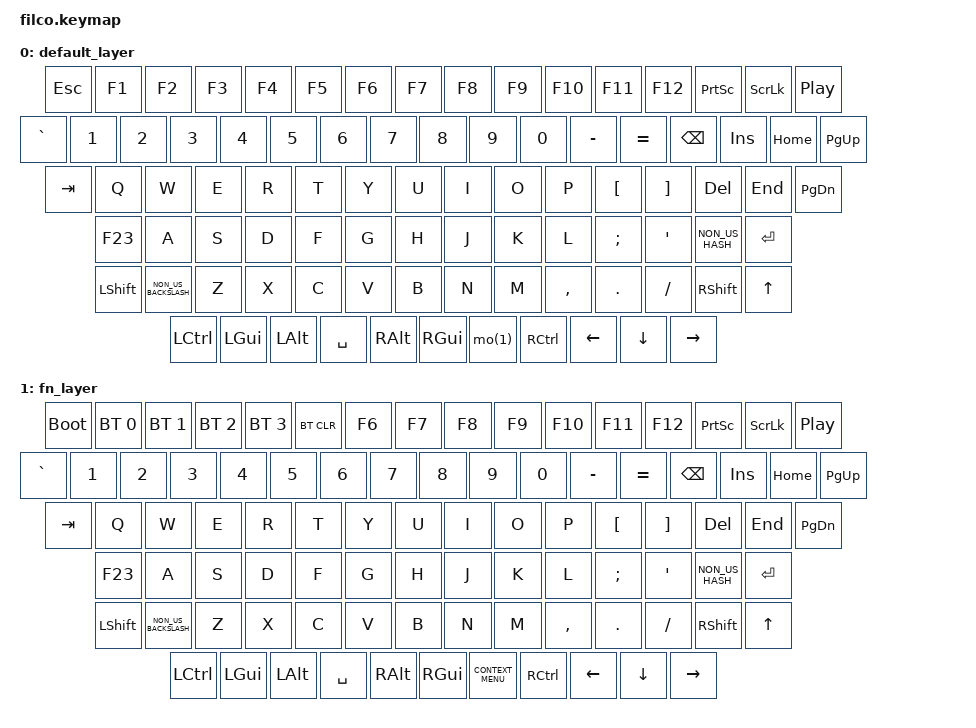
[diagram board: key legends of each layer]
/*
 * Copyright (c) 2020 The ZMK Contributors
 *
 * SPDX-License-Identifier: MIT
 */

#include <behaviors.dtsi>
#include <dt-bindings/zmk/keys.h>
#include <dt-bindings/zmk/bt.h>

/ {
    keymap0: keymap
    {
        compatible = "zmk,keymap";
        default_layer
        {
            bindings = <
                &kp ESC &kp F1 &kp F2 &kp F3 &kp F4 &kp F5 &kp F6 &kp F7 &kp F8 &kp F9 &kp F10 &kp F11 &kp F12 &kp PRINTSCREEN &kp SCROLLLOCK &kp C_PLAY_PAUSE
                &kp GRAVE &kp N1 &kp N2 &kp N3 &kp N4 &kp N5 &kp N6 &kp N7 &kp N8 &kp N9 &kp N0 &kp MINUS &kp EQUAL &kp BSPC &kp INSERT &kp HOME &kp PAGE_UP
                &kp TAB &kp Q &kp W &kp E &kp R &kp T &kp Y &kp U &kp I &kp O &kp P &kp LBKT &kp RBKT &kp DEL &kp END &kp PAGE_DOWN
                &kp F23 &kp A &kp S &kp D &kp F &kp G &kp H &kp J &kp K &kp L &kp SEMI &kp SQT &kp NON_US_HASH &kp ENTER
                &kp LSHFT &kp NON_US_BACKSLASH &kp Z &kp X &kp C &kp V &kp B &kp N &kp M &kp COMMA &kp DOT &kp FSLH &kp RSHFT &kp UP
                &kp LCTRL &kp LGUI &kp LALT &kp SPACE &kp RALT &kp RGUI &mo(1) &kp RCTRL &kp LEFT &kp DOWN &kp RIGHT
            >;
        };

        fn_layer
        {
            bindings = <
                &bootloader &bt BT_SEL 0 &bt BT_SEL 1 &bt BT_SEL 2 &bt BT_SEL 3 &bt BT_CLR &kp F6 &kp F7 &kp F8 &kp F9 &kp F10 &kp F11 &kp F12 &kp PRINTSCREEN &kp SCROLLLOCK &kp C_PLAY_PAUSE
                &kp GRAVE &kp N1 &kp N2 &kp N3 &kp N4 &kp N5 &kp N6 &kp N7 &kp N8 &kp N9 &kp N0 &kp MINUS &kp EQUAL &kp BSPC &kp INSERT &kp HOME &kp PAGE_UP
                &kp TAB &kp Q &kp W &kp E &kp R &kp T &kp Y &kp U &kp I &kp O &kp P &kp LBKT &kp RBKT &kp DEL &kp END &kp PAGE_DOWN
                &kp F23 &kp A &kp S &kp D &kp F &kp G &kp H &kp J &kp K &kp L &kp SEMI &kp SQT &kp NON_US_HASH &kp ENTER
                &kp LSHFT &kp NON_US_BACKSLASH &kp Z &kp X &kp C &kp V &kp B &kp N &kp M &kp COMMA &kp DOT &kp FSLH &kp RSHFT &kp UP
                &kp LCTRL &kp LGUI &kp LALT &kp SPACE &kp RALT &kp RGUI &kp K_CONTEXT_MENU &kp RCTRL &kp LEFT &kp DOWN &kp RIGHT
            >;
        };
    };
};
